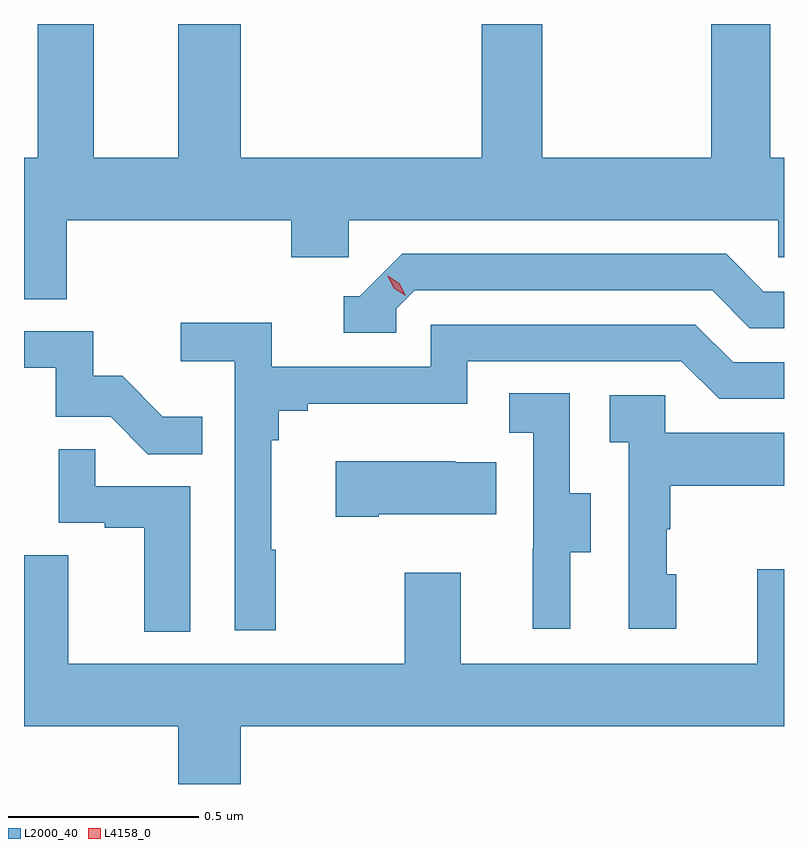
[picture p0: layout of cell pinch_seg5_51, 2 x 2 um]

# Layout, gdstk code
import gdstk
lib = gdstk.Library(unit=1e-6, precision=1e-09)
def P(c, l, *ps):  # polygons
    for p in ps: c.add(gdstk.Polygon(p, *l))
L2000_40 = (2000, 40)
L4158_0 = (4158, 0)

pinch_seg5_51 = lib.new_cell('pinch_seg5_51')
P(pinch_seg5_51, L2000_40, [(1099.778,903.38),(1100.369,903.38),(1100.369,903.282),(1100.52,903.282),(1100.52,903.38),(1101.651,903.38),(1101.651,903.282),(1101.666,903.282),(1101.666,903.544),(1101.63,903.544),(1101.63,903.896),(1101.475,903.896),(1101.475,903.544),(1101.03,903.544),(1101.03,903.896),(1100.87,903.896),(1100.87,903.544),(1100.236,903.544),(1100.236,903.896),(1100.072,903.896),(1100.072,903.544),(1099.849,903.544),(1099.849,903.896),(1099.702,903.896),(1099.702,903.544),(1099.666,903.544),(1099.666,903.172),(1099.778,903.172)],
  [(1100.646,903.147),(1100.694,903.195),(1101.477,903.195),(1101.576,903.096),(1101.666,903.096),(1101.666,903.192),(1101.613,903.192),(1101.514,903.291),(1100.661,903.291),(1100.55,903.18),(1100.507,903.18),(1100.507,903.084),(1100.646,903.084)],
  [(1100.329,902.513),(1100.317,902.513),(1100.317,902.801),(1100.336,902.801),(1100.336,902.878),(1100.413,902.878),(1100.413,902.897),(1100.832,902.897),(1100.832,903.009),(1101.396,903.009),(1101.495,902.91),(1101.666,902.91),(1101.666,903.006),(1101.532,903.006),(1101.433,903.105),(1100.736,903.105),(1100.736,902.994),(1100.318,902.994),(1100.318,903.11),(1100.079,903.11),(1100.079,903.008),(1100.22,903.008),(1100.22,902.301),(1100.329,902.301)],
  [(1100.135,902.863),(1100.031,902.863),(1099.924,902.97),(1099.848,902.97),(1099.848,903.087),(1099.666,903.087),(1099.666,902.991),(1099.749,902.991),(1099.749,902.862),(1099.894,902.862),(1099.992,902.764),(1100.135,902.764)],
  [(1101.103,902.506),(1101.157,902.506),(1101.157,902.661),(1101.102,902.661),(1101.102,902.924),(1100.943,902.924),(1100.943,902.821),(1101.006,902.821),(1101.006,902.517),(1101.005,902.517),(1101.005,902.304),(1101.103,902.304)],
  [(1101.382,902.448),(1101.357,902.448),(1101.357,902.567),(1101.367,902.567),(1101.367,902.681),(1101.666,902.681),(1101.666,902.821),(1101.354,902.821),(1101.354,902.919),(1101.207,902.919),(1101.207,902.795),(1101.258,902.795),(1101.258,902.304),(1101.382,902.304)],
  [(1100.104,902.679),(1099.853,902.679),(1099.853,902.777),(1099.758,902.777),(1099.758,902.583),(1099.879,902.583),(1099.879,902.571),(1099.982,902.571),(1099.982,902.297),(1100.104,902.297)],
  [(1100.599,902.606),(1100.909,902.606),(1100.909,902.743),(1100.801,902.743),(1100.801,902.746),(1100.487,902.746),(1100.487,902.599),(1100.599,902.599)],
  [(1100.236,902.048),(1101.666,902.048),(1101.666,902.461),(1101.596,902.461),(1101.596,902.212),(1100.815,902.212),(1100.815,902.452),(1100.668,902.452),(1100.668,902.212),(1099.783,902.212),(1099.783,902.498),(1099.666,902.498),(1099.666,902.048),(1100.072,902.048),(1100.072,901.896),(1100.236,901.896)])
P(pinch_seg5_51, L4158_0, [(1100.67,903.181),(1100.639,903.2),(1100.623,903.233),(1100.623,903.234),(1100.623,903.234),(1100.654,903.214),(1100.671,903.181),(1100.671,903.181)])

lib.write_gds('pinch_seg5_51.gds')
